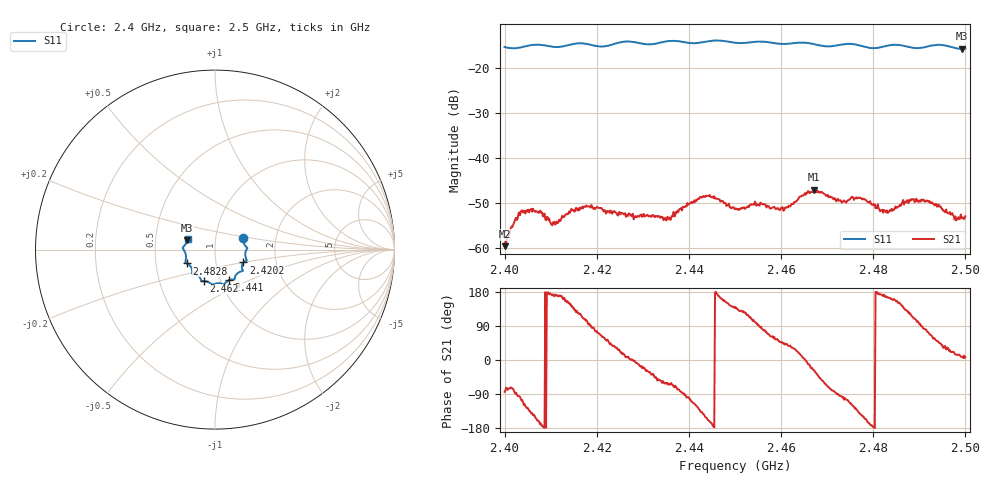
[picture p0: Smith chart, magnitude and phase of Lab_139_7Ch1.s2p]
# Hz S RI R 50
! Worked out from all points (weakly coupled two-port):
!   601 points, 2.4 GHz to 2.5 GHz, reference 50 ohm
!   highest |S21| = -47.11 dB at 2.4672 GHz (marker M1); lowest = -59.6 dB at 2.4 GHz (marker M2)
!   lowest |S11| = -15.8 dB at 2.4993 GHz (marker M3), VSWR 1.39, Z = 36.5 + j3.89 ohm
!   |S11| at or under -10 dB: start of sweep to end of sweep
!   S12 and S22 are empty: the file has one direction only
!   S11 on the Smith chart (normalised r, x): 2.4 GHz: 1.36, +0.17; 2.4202 GHz: 1.36, -0.20; 2.441 GHz: 1.10, -0.39; 2.462 GHz: 0.84, -0.30; 2.4828 GHz: 0.72, -0.11; 2.5 GHz: 0.73, +0.09
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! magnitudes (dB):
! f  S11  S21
! 2.4 GHz  -15.4  -59.6
! 2.4035 GHz  -15.5  -52.1
! 2.4077 GHz  -14.9  -51.8
! 2.4107 GHz  -15.4  -54.6
! 2.4167 GHz  -14.6  -51.1
! 2.4202 GHz  -15.2  -51.0
! 2.4333 GHz  -14.5  -53.0
! 2.4355 GHz  -14.1  -53.3
! 2.441 GHz  -14.5  -50.0
! 2.4442 GHz  -14.1  -48.5
! 2.45 GHz  -14.4  -51.5
! 2.462 GHz  -14.6  -50.8
! 2.4667 GHz  -14.6  -47.6
! 2.4672 GHz  -14.7  -47.1
! 2.4737 GHz  -14.8  -49.5
! 2.4777 GHz  -15.2  -49.3
! 2.4828 GHz  -15.1  -52.2
! 2.4833 GHz  -15.0  -52.0
! 2.4868 GHz  -15.2  -49.9
! 2.491 GHz  -15.5  -49.3
! 2.4993 GHz  -15.8  -53.3
! 2.5 GHz  -15.7  -53.0
